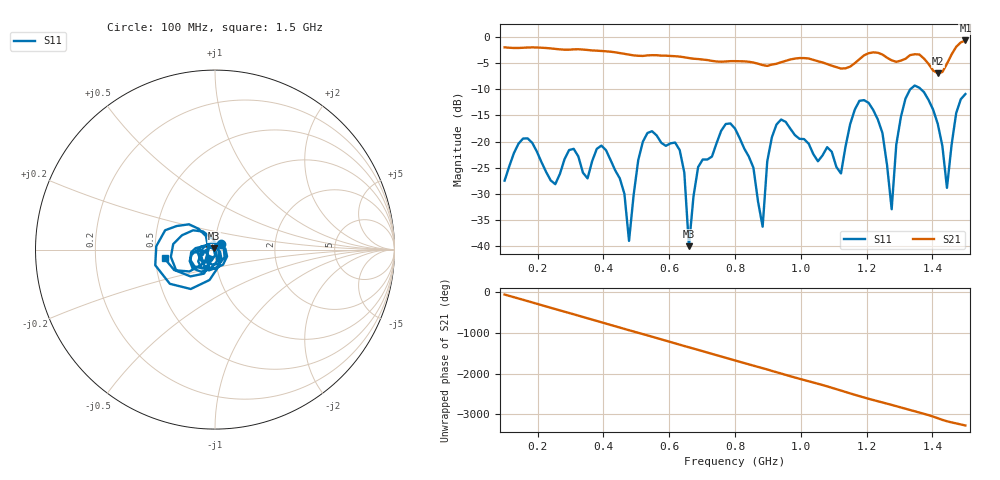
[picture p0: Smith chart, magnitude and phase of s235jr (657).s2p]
! NanoVNA-App
! Date: 2025-09-25 15:09:17
! Start: 100MHz Stop: 1,5GHz Points: 101
! S-Parameter data: F S11 S21 S12 S22
# Hz S RI R 50
!  Frequency  S11_Real  S11_Imag  S21_Real  S21_Imag  S12_Real  S12_Imag  S22_Real  S22_Imag
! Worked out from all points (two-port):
!   101 points, 100 MHz to 1.5 GHz, reference 50 ohm
!   highest |S21| = -0.65 dB at 1.5 GHz (marker M1); lowest = -6.9 dB at 1.416 GHz (marker M2)
!   |S21| within 3 dB of the highest: start of sweep to 613.5 MHz; 1.189 GHz to 1.255 GHz (65.77 MHz wide, 5.38 % of centre) (the widest 2 of 4)
!   lowest |S11| = -40.0 dB at 660 MHz (marker M3), VSWR 1.02, Z = 49.2 + j0.625 ohm
!   |S11| at or under -10 dB: start of sweep to 1.332 GHz; 1.365 GHz to end of sweep
!   S12 and S22 are empty: the file has one direction only
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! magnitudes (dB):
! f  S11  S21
! 100 MHz  -27.5  -2.0
! 156 MHz  -19.4  -2.0
! 338 MHz  -25.9  -2.4
! 408 MHz  -21.6  -2.7
! 478 MHz  -39.0  -3.4
! 520 MHz  -20.0  -3.6
! 576 MHz  -20.2  -3.6
! 632 MHz  -21.6  -3.7
! 660 MHz  -40.0  -4.0
! 688 MHz  -24.9  -4.2
! 800 MHz  -17.5  -4.6
! 884 MHz  -36.3  -5.4
! 926 MHz  -16.7  -5.1
! 1.038 GHz  -22.4  -4.4
! 1.122 GHz  -26.1  -6.0
! 1.206 GHz  -12.6  -3.1
! 1.276 GHz  -32.9  -4.5
! 1.29 GHz  -20.6  -4.7
! 1.332 GHz  -10.0  -3.5
! 1.416 GHz  -16.6  -6.9
! 1.444 GHz  -28.8  -5.1
! 1.5 GHz  -10.9  -0.6
